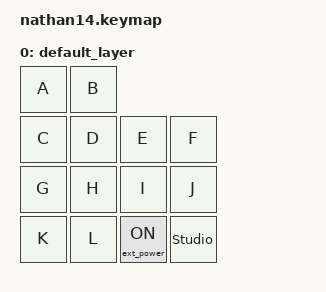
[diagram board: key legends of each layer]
// This file was generated from a template. Edit it to match your keyboard.
// See https://zmk.dev/docs/development/hardware-integration/new-shield for more instructions.

#include <behaviors.dtsi>
#include <dt-bindings/zmk/keys.h>
#include <dt-bindings/zmk/bt.h>
#include <dt-bindings/zmk/ext_power.h>

/ {
    // Define a default keymap here.
    // See https://zmk.dev/docs/development/hardware-integration/new-shield#default-keymap.
    keymap {
        compatible = "zmk,keymap";

        default_layer {
            bindings = <
                &kp A &kp B &kp C &kp D &kp E &kp F &kp G &kp H &kp I &kp J &kp K &kp L &ext_power EP_ON &studio_unlock
             >;
        };
    };
};
